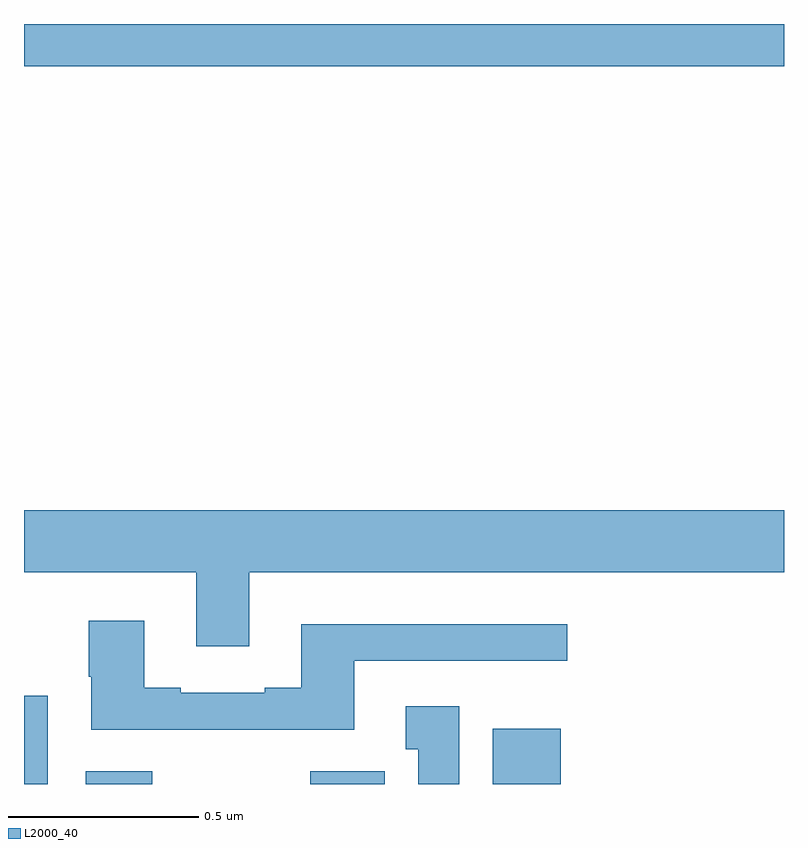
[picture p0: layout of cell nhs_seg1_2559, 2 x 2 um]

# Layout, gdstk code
import gdstk
lib = gdstk.Library(unit=1e-6, precision=1e-09)
def R(c, l, rs):  # rectangles x0, y0, x1, y1
    for r in rs: c.add(gdstk.rectangle(r[:2], r[2:], *l))
def P(c, l, *ps):  # polygons
    for p in ps: c.add(gdstk.Polygon(p, *l))
L2000_40 = (2000, 40)

nhs_seg1_2559 = lib.new_cell('nhs_seg1_2559')
R(nhs_seg1_2559, L2000_40, [(143,527.199,143.062,527.431), (143.162,527.199,143.338,527.233), (143.753,527.199,143.949,527.233), (144.233,527.199,144.412,527.344), (143,529.088,145,529.199)])
P(nhs_seg1_2559, L2000_40, [(143.593,527.756),(145,527.756),(145,527.92),(143,527.92),(143,527.756),(143.453,527.756),(143.453,527.562),(143.593,527.562)],
  [(143.869,527.523),(144.43,527.523),(144.43,527.62),(143.729,527.62),(143.729,527.452),(143.633,527.452),(143.633,527.439),(143.413,527.439),(143.413,527.452),(143.317,527.452),(143.317,527.629),(143.17,527.629),(143.17,527.481),(143.177,527.481),(143.177,527.342),(143.869,527.342)],
  [(144.145,527.404),(144.005,527.404),(144.005,527.291),(144.038,527.291),(144.038,527.199),(144.145,527.199)])

lib.write_gds('nhs_seg1_2559.gds')
